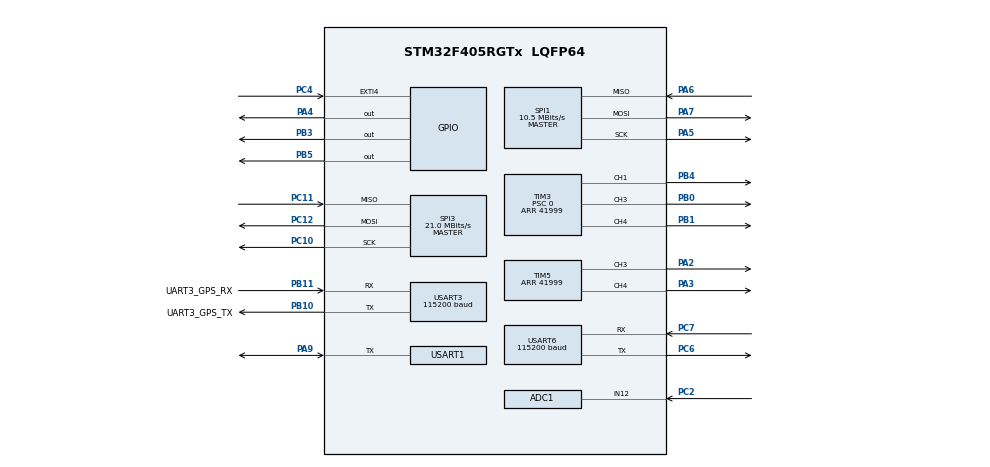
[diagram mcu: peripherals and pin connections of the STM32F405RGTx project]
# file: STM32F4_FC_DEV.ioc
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ADC1.Channel-0\#ChannelRegularConversion=ADC_CHANNEL_12
ADC1.ClockPrescaler=ADC_CLOCK_SYNC_PCLK_DIV8
ADC1.ContinuousConvMode=ENABLE
ADC1.DMAContinuousRequests=ENABLE
ADC1.NbrOfConversionFlag=1
ADC1.Rank-0\#ChannelRegularConversion=1
ADC1.SamplingTime-0\#ChannelRegularConversion=ADC_SAMPLETIME_480CYCLES
ADC1.master=1
Dma.ADC1.1.Direction=DMA_PERIPH_TO_MEMORY
Dma.ADC1.1.FIFOMode=DMA_FIFOMODE_DISABLE
Dma.ADC1.1.Instance=DMA2_Stream0
Dma.ADC1.1.MemDataAlignment=DMA_MDATAALIGN_HALFWORD
Dma.ADC1.1.MemInc=DMA_MINC_DISABLE
Dma.ADC1.1.Mode=DMA_CIRCULAR
Dma.ADC1.1.PeriphDataAlignment=DMA_PDATAALIGN_HALFWORD
Dma.ADC1.1.PeriphInc=DMA_PINC_DISABLE
Dma.ADC1.1.Priority=DMA_PRIORITY_LOW
Dma.Request0=USART3_RX
Dma.Request1=ADC1
Dma.USART3_RX.0.Direction=DMA_PERIPH_TO_MEMORY
Dma.USART3_RX.0.FIFOMode=DMA_FIFOMODE_DISABLE
Dma.USART3_RX.0.Instance=DMA1_Stream1
Dma.USART3_RX.0.MemDataAlignment=DMA_MDATAALIGN_BYTE
Dma.USART3_RX.0.MemInc=DMA_MINC_ENABLE
Dma.USART3_RX.0.Mode=DMA_CIRCULAR
Dma.USART3_RX.0.PeriphDataAlignment=DMA_PDATAALIGN_BYTE
Dma.USART3_RX.0.PeriphInc=DMA_PINC_DISABLE
Dma.USART3_RX.0.Priority=DMA_PRIORITY_LOW
Mcu.Family=STM32F4
Mcu.Name=STM32F405RGTx
Mcu.Package=LQFP64
NVIC.DMA1_Stream1_IRQn=true\:0\:0\:false\:false\:true\:false\:true\:true
NVIC.DMA2_Stream0_IRQn=true\:0\:0\:false\:false\:true\:false\:true\:true
NVIC.EXTI4_IRQn=true\:0\:0\:false\:false\:true\:true\:true\:true
NVIC.PriorityGroup=NVIC_PRIORITYGROUP_4
NVIC.SPI1_IRQn=true\:0\:0\:false\:false\:true\:true\:true\:true
NVIC.SPI3_IRQn=true\:0\:0\:false\:false\:true\:true\:true\:true
NVIC.USART1_IRQn=true\:0\:0\:false\:false\:true\:true\:true\:true
NVIC.USART3_IRQn=true\:0\:0\:false\:false\:true\:true\:true\:true
NVIC.USART6_IRQn=true\:0\:0\:false\:false\:true\:true\:true\:true
PA2.Signal=S_TIM5_CH3
PA3.Signal=S_TIM5_CH4
PA4.Signal=GPIO_Output
PA5.Mode=Full_Duplex_Master
PA5.Signal=SPI1_SCK
PA6.Mode=Full_Duplex_Master
PA6.Signal=SPI1_MISO
PA7.Mode=Full_Duplex_Master
PA7.Signal=SPI1_MOSI
PA9.Mode=Half_duplex(single_wire_mode)
PA9.Signal=USART1_TX
PB0.Signal=S_TIM3_CH3
PB1.Signal=S_TIM3_CH4
PB10.GPIO_Label=UART3_GPS_TX
PB10.Mode=Asynchronous
PB10.Signal=USART3_TX
PB11.GPIO_Label=UART3_GPS_RX
PB11.Mode=Asynchronous
PB11.Signal=USART3_RX
PB3.Signal=GPIO_Output
PB4.Signal=S_TIM3_CH1
PB5.Signal=GPIO_Output
PC10.Mode=Full_Duplex_Master
PC10.Signal=SPI3_SCK
PC11.Mode=Full_Duplex_Master
PC11.Signal=SPI3_MISO
PC12.Mode=Full_Duplex_Master
PC12.Signal=SPI3_MOSI
PC2.Signal=ADCx_IN12
PC4.Signal=GPXTI4
PC6.Mode=Asynchronous
PC6.Signal=USART6_TX
PC7.Mode=Asynchronous
PC7.Signal=USART6_RX
PH0-OSC_IN.Mode=HSE-External-Oscillator
PH0-OSC_IN.Signal=RCC_OSC_IN
PH1-OSC_OUT.Mode=HSE-External-Oscillator
PH1-OSC_OUT.Signal=RCC_OSC_OUT
ProjectManager.HeapSize=0x200
ProjectManager.StackSize=0x400
ProjectManager.TargetToolchain=STM32CubeIDE
RCC.48MHZClocksFreq_Value=84000000
RCC.AHBFreq_Value=168000000
RCC.APB1CLKDivider=RCC_HCLK_DIV4
RCC.APB1Freq_Value=42000000
RCC.APB1TimFreq_Value=84000000
RCC.APB2CLKDivider=RCC_HCLK_DIV2
RCC.APB2Freq_Value=84000000
RCC.APB2TimFreq_Value=168000000
RCC.CortexFreq_Value=168000000
RCC.HCLKFreq_Value=168000000
RCC.HSE_VALUE=8000000
RCC.HSI_VALUE=16000000
RCC.LSE_VALUE=32768
RCC.PLLM=4
RCC.PLLN=168
RCC.PLLSourceVirtual=RCC_PLLSOURCE_HSE
RCC.SYSCLKFreq_VALUE=168000000
RCC.SYSCLKSource=RCC_SYSCLKSOURCE_PLLCLK
RCC.VCOOutputFreq_Value=336000000
SH.ADCx_IN12.0=ADC1_IN12,IN12
SH.S_TIM3_CH1.0=TIM3_CH1,PWM Generation1 CH1
SH.S_TIM3_CH3.0=TIM3_CH3,PWM Generation3 CH3
SH.S_TIM3_CH4.0=TIM3_CH4,PWM Generation4 CH4
SH.S_TIM5_CH3.0=TIM5_CH3,PWM Generation3 CH3
SH.S_TIM5_CH4.0=TIM5_CH4,PWM Generation4 CH4
SPI1.BaudRatePrescaler=SPI_BAUDRATEPRESCALER_8
SPI1.CLKPhase=SPI_PHASE_2EDGE
SPI1.CLKPolarity=SPI_POLARITY_HIGH
SPI1.CalculateBaudRate=10.5 MBits/s
SPI1.Direction=SPI_DIRECTION_2LINES
SPI1.Mode=SPI_MODE_MASTER
SPI1.VirtualType=VM_MASTER
SPI3.BaudRatePrescaler=SPI_BAUDRATEPRESCALER_2
SPI3.CLKPhase=SPI_PHASE_1EDGE
SPI3.CLKPolarity=SPI_POLARITY_LOW
SPI3.CalculateBaudRate=21.0 MBits/s
SPI3.Direction=SPI_DIRECTION_2LINES
SPI3.Mode=SPI_MODE_MASTER
SPI3.VirtualType=VM_MASTER
TIM3.AutoReloadPreload=TIM_AUTORELOAD_PRELOAD_ENABLE
TIM3.Channel-PWM\ Generation1\ CH1=TIM_CHANNEL_1
TIM3.Channel-PWM\ Generation3\ CH3=TIM_CHANNEL_3
TIM3.Channel-PWM\ Generation4\ CH4=TIM_CHANNEL_4
TIM3.OCFastMode_PWM-PWM\ Generation1\ CH1=TIM_OCFAST_ENABLE
TIM3.OCFastMode_PWM-PWM\ Generation3\ CH3=TIM_OCFAST_ENABLE
TIM3.OCFastMode_PWM-PWM\ Generation4\ CH4=TIM_OCFAST_ENABLE
TIM3.Period=41999
TIM3.Prescaler=0
TIM3.Pulse-PWM\ Generation3\ CH3=0
TIM3.Pulse-PWM\ Generation4\ CH4=0
TIM5.AutoReloadPreload=TIM_AUTORELOAD_PRELOAD_ENABLE
TIM5.Channel-PWM\ Generation3\ CH3=TIM_CHANNEL_3
TIM5.Channel-PWM\ Generation4\ CH4=TIM_CHANNEL_4
TIM5.OCFastMode_PWM-PWM\ Generation3\ CH3=TIM_OCFAST_ENABLE
TIM5.OCFastMode_PWM-PWM\ Generation4\ CH4=TIM_OCFAST_ENABLE
TIM5.Period=41999
TIM5.Pulse-PWM\ Generation3\ CH3=0
TIM5.Pulse-PWM\ Generation4\ CH4=0
USART1.BaudRate=100000
USART1.StopBits=STOPBITS_2
USART1.VirtualMode=VM_ASYNC
USART3.BaudRate=115200
USART3.OverSampling=UART_OVERSAMPLING_16
USART3.VirtualMode=VM_ASYNC
USART6.BaudRate=115200
USART6.VirtualMode=VM_ASYNC
VP_TIM3_VS_ClockSourceINT.Mode=Internal
VP_TIM5_VS_ClockSourceINT.Mode=Internal
board=custom

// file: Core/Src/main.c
/* USER CODE BEGIN Header */
/**
  ******************************************************************************
  * @file           : main.c
  * @brief          : Main program body
  ******************************************************************************
  * @attention
  *
  * Copyright (c) 2023 STMicroelectronics.
  * All rights reserved.
  *
  * This software is licensed under terms that can be found in the LICENSE file
  * in the root directory of this software component.
  * If no LICENSE file comes with this software, it is provided AS-IS.
  *
  ******************************************************************************
  */
/* USER CODE END Header */
#include "main.h"
#include "adc.h"
#include "dma.h"
#include "spi.h"
#include "tim.h"
#include "usart.h"
#include "gpio.h"

/* USER CODE BEGIN Includes */
#include "Configure.h"
#include "ICM20602.h"
#include "Quaternion.h"
#include "GPS_Receiver.h"
#include "SBUS_Receiver.h"
#include "W25Qxx_Flash.h"
//#include "cli.h"
/* USER CODE END Includes */

/* USER CODE BEGIN PV */
extern uint8_t flag_INT_UART1_RX, flag_INT_UART1_RX_DONE;	// SBUS 수신기 인터럽트 플래그 변수
extern uint8_t flag_INT_USART6,flag_INT_UART6_RX_DONE;		// UART6 인터럽트 플래그 변수
extern uint8_t flag_INT_UART3_GPS;	// UART3 인터럽트 플래그 변수
extern uint8_t flag_INT_UART4_RX;	// S.Port 수신기 인터럽트 플래그 변수
extern uint8_t flag_DMA1_DONE, flag_DMA2_DONE;		// DMA1_STREAM1 DMA완료 플래그

extern uint8_t rxd, rxd_gps;		// UART 수신데이터 버퍼
extern uint8_t rx_buf[256];		// Rx 수신데이터 버퍼
uint8_t cnt1=0, cnt2 = 0, radio_safe=0;

//Flash
uint8_t flash_data[8]= {0x01,0x02,0x03,0x04, 0xAA,0x55,0xA5,0x5A};
uint8_t read_flash=0;
uint8_t read_flash_arr[256], write_flash_arr[256];
uint8_t flash_byte = 0x05, read_byte=0;

uint16_t adcVal;
float BatVol=0;

extern unsigned int TimingDelay;

unsigned long  t1=0;
unsigned long  t2=0;

float sampleFreq;

extern int recv_cnt, rx_recv_cnt;
extern int err_cnt, rx_err_cnt;

GPS_RAW_MESSAGE raw_gps;
SBUS_RAW_MESSAGE raw_rx;
MSG_NAV 		msg_nav;
MSG_SBUS 		msg_sbus;
//unsigned char M8N_CFG_PRT[28] = {0xB5, 0x62, 0x06, 0x00, 0x14, 0x00, 0x01, 0x00, 0x00, 0x00, 0xD0, 0x08, 0x00, 0x00, 0x00, 0x96, 0x00, 0x00, 0x01, 0x00, 0x01, 0x00, 0x00, 0x00, 0x00, 0x00, 0x8B, 0x54};
//unsigned char M8N_CFG_MSG[16] = {0xB5, 0x62, 0x06, 0x01, 0x08, 0x00, 0x29, 0x02, 0x00, 0x01, 0x00, 0x00, 0x00, 0x00, 0x3B, 0xFE};
//unsigned char M8N_CFG_RAT[14] = {0xB5, 0x62, 0x06, 0x08, 0x06, 0x00, 0xC8, 0x00, 0x01, 0x00, 0x01, 0x00, 0xDE, 0x6A};
//unsigned char M8N_CFG_CFG[21] = {0xB5, 0x62, 0x06, 0x09, 0x0D, 0x00, 0x00, 0x00, 0x00, 0x00, 0xFF, 0xFF, 0x00, 0x00, 0x00, 0x00, 0x00, 0x00, 0x17, 0x31, 0xBF};

/* USER CODE END PV */

void SystemClock_Config(void);

int main(void)
{

  /* MCU Configuration--------------------------------------------------------*/

  /* Reset of all peripherals, Initializes the Flash interface and the Systick. */
  HAL_Init();

  /* USER CODE BEGIN Init */
  memset(&read_flash_arr,0,256);
  for(int i=0; i<256;i++){
	  write_flash_arr[i]=i;
  }

  /* USER CODE END Init */

  /* Configure the system clock */
  SystemClock_Config();

  /* USER CODE BEGIN SysInit */
  LL_InitTick(168000000, 1000000U);		//	Clock을 1us단위로 조정, 1ms함수 사용할 수 없음
  /* USER CODE END SysInit */

  /* Initialize all configured peripherals */
  MX_GPIO_Init();
  MX_DMA_Init();
  MX_USART6_UART_Init();
  MX_SPI1_Init();
  MX_TIM3_Init();
  MX_USART3_UART_Init();
  MX_USART1_UART_Init();
  MX_TIM5_Init();
  MX_SPI3_Init();
  MX_ADC1_Init();
  /* USER CODE BEGIN 2 */

  W25QXX_SPI_Initialization();
//  W25qxx_EraseChip();
//  W25qxx_EraseSector(0);
//  W25qxx_IsEmptyBlock(0, 0, 256);

//  W25qxx_WriteByte(0x05,5);
//  W25qxx_ReadBytes(read_flash_arr, 0, 10);

//  W25qxx_WritePage(write_flash_arr, 0, 0, 256);
//  W25qxx_ReadPage(read_flash_arr, 0, 0,  256);
//  W25qxx_ReadBytes(read_flash_arr, 0, 256);
//  W25qxx_ReadBytes(read_flash_arr, 5, 5);

  // Buzzer
/*  LL_TIM_EnableCounter(TIM3);
  LL_TIM_CC_EnableChannel(TIM3, LL_TIM_CHANNEL_CH1);

  TIM3->PSC = 2000;
  usDelay(100000);
  TIM3->PSC = 1500;
  usDelay(100000);
  TIM3->PSC = 1000;
  usDelay(100000);

  LL_TIM_CC_DisableChannel(TIM3, LL_TIM_CHANNEL_CH1);
*/
  // ESC PWM
  LL_TIM_EnableCounter(TIM3);
  LL_TIM_CC_EnableChannel(TIM3, LL_TIM_CHANNEL_CH3);	// M1
  LL_TIM_CC_EnableChannel(TIM3, LL_TIM_CHANNEL_CH4); 	// M2
  LL_TIM_EnableCounter(TIM5);
  LL_TIM_CC_EnableChannel(TIM5, LL_TIM_CHANNEL_CH4);	// M3
  LL_TIM_CC_EnableChannel(TIM5, LL_TIM_CHANNEL_CH3);	// M4

  // ESC Calibration
/*  TIM3->CCR3 = MAX_TIM_PWM;
  TIM3->CCR4 = MAX_TIM_PWM;
  TIM5->CCR4 = MAX_TIM_PWM;
  TIM5->CCR3 = MAX_TIM_PWM;
  usDelay(7000000);	// 7sec

  TIM3->CCR3 = MIN_TIM_PWM;
  TIM3->CCR4 = MIN_TIM_PWM;
  TIM5->CCR4 = MIN_TIM_PWM;
  TIM5->CCR3 = MIN_TIM_PWM;
  usDelay(8000000);	// 7sec
*/

  ICM20602_Initialization();

  // Batery ADC Check
  HAL_ADC_Start_DMA(&hadc1, &adcVal, 1);

  // 시간측정을 위한 레지스터 초기화 값
  CoreDebug->DEMCR |= CoreDebug_DEMCR_TRCENA_Msk;
  DWT->CYCCNT = 0;
  DWT->CTRL |= DWT_CTRL_CYCCNTENA_Msk;

  // UART3 GPS 수신기 DMA 및 인터럽트 설정
  GPS_DMA_init(&raw_gps, USART3, DMA1, LL_DMA_STREAM_1);
  LL_DMA_EnableStream(DMA1,LL_DMA_STREAM_1);
  LL_USART_EnableIT_IDLE(USART3);

  // UART1 SBUS 수신기 인터럽트 설정
  LL_USART_EnableIT_IDLE(USART1);
  LL_USART_EnableIT_RXNE(USART1);

  // UART6 문자열 인터페이스 DMA 및  인터럽트 설정
//  USART_DMA_Transmit_INIT(USART6, DMA2, LL_DMA_STREAM_6);
  LL_USART_EnableIT_RXNE(USART6);	// UART6 인터럽트 활성화
//  LL_USART_EnableIT_IDLE(USART6);
//  LL_USART_EnableIT_TC(USART6);

  LL_GPIO_TogglePin(GPIOB, LL_GPIO_PIN_5);

  CliInit(&huart6);
  FLASH_If_Init();

  /* USER CODE END 2 */

  /* Infinite loop */
  /* USER CODE BEGIN WHILE */
  while (1)
  {
  //	  LL_GPIO_TogglePin(GPIOB, LL_GPIO_PIN_5);
  //	  usDelay(1000000);
  //	  LL_USART_TransmitData8(USART6,'B');

	  if(flag_INT_UART1_RX==1){
		  raw_rx.rx_buf[cnt1++] = LL_USART_ReceiveData8(USART1);
          flag_INT_UART1_RX =0;
	  }

	  if(flag_INT_UART1_RX_DONE == 1)
	  {
		  SBUS_Parsing(&raw_rx, &msg_sbus, &rx_recv_cnt, &rx_err_cnt);
          cnt1=0;
		  flag_INT_UART1_RX_DONE = 0;
	  }

	  if(flag_INT_UART4_RX==1){
		  flag_INT_UART4_RX = 0;
	  }

	  if(flag_INT_USART6 == 1){
		  flag_INT_USART6 =0;

		  CliDo(&huart6);

//		  LL_USART_TransmitData8(USART3,rxd); // 터미널에서 수신된 데이터를 GPS로 전달
//		  LL_USART_TransmitData8(USART6,rxd); // 호스트로부터 수신한 데이터를 그대로 다시 보냄
//		  LL_GPIO_TogglePin(GPIOB, LL_GPIO_PIN_5);
	  }

	  // UART3에서 한 프레임 GPS 데이터 수신완료에 인터럽트 발생, GPS데이터가 수신될 때마다 DMA는 데이터카운트를 하나씩 감소하면서 0이 될 때까지 전송
	  if(flag_INT_UART3_GPS == 1){

//		  cnt=(uint8_t)(MSG_LENGTH_NAV_SOL-LL_DMA_GetDataLength(DMA1,LL_DMA_STREAM_1));
		  LL_DMA_DisableStream(DMA1,LL_DMA_STREAM_1);
		  LL_DMA_ClearFlag_TC1(DMA1);
//		  cnt = 0;
		  flag_INT_UART3_GPS =0;

	  }

	  // DMA 데이터카운트가 0이되면 인터럽트 발생, 데이터를 버퍼로 수신 완료
	  if(flag_DMA1_DONE == 1)
	  {
//		  cnt=(uint8_t)(MSG_LENGTH_NAV_SOL-LL_DMA_GetDataLength(DMA1,LL_DMA_STREAM_1));

		  // Batery Checker
		  BatVol = adcVal*ADC_BAT_COEFF;
//		  printf("Battery Check: ADC[%d], Voltage[%f]\n", adcVal, BatVol);

		  // GPS Parsing
		  GPS_Parsing(&raw_gps, &msg_nav, &recv_cnt, &err_cnt);
		  LL_DMA_EnableStream(DMA1,LL_DMA_STREAM_1);
		  flag_DMA1_DONE = 0;
	  }

	  if(ICM20602_DataReady() == 1)
	  {

		  t2 = DWT->CYCCNT;
//		  sampleFreq = (1000000.0f /(((float)(t2-t1))/CLOCK_PER_USEC)); // set integration time by time elapsed since last filter update
		  t1 = t2;
//		  printf("%.2f\n",(sampleFreq));
		  GetRPY(&sampleFreq);
		  // overall 230us time consumption
		  // Loop 수행시간 계산시 소수점 세자리 출력(약 400u) 더해주어야 함

	  }

	  // Failsafe
	  if(msg_sbus.failsafe==MSG_SBUS_FS_BIT_MASK) {
		  TIM3->CCR3 = MIN_TIM_PWM;
		  TIM3->CCR4 = MIN_TIM_PWM;
		  TIM5->CCR4 = MIN_TIM_PWM;
		  TIM5->CCR3 = MIN_TIM_PWM;
	  }

	  // Radio Control
	  else	  {

		  if(radio_safe==0) {
			  if((msg_sbus.rx_channel[0] < MIN_RADIO_CH1_PWM + 5)&&(msg_sbus.rx_channel[0] > 0)) {
				   LL_GPIO_TogglePin(GPIOB, LL_GPIO_PIN_5);
				   usDelay(500000);
				   LL_GPIO_TogglePin(GPIOB, LL_GPIO_PIN_5);
				   usDelay(500000);
				   LL_GPIO_TogglePin(GPIOB, LL_GPIO_PIN_5);
				   usDelay(500000);
				   LL_GPIO_TogglePin(GPIOB, LL_GPIO_PIN_5);
				   usDelay(500000);
				   LL_GPIO_TogglePin(GPIOB, LL_GPIO_PIN_5);
				   usDelay(500000);
				   LL_GPIO_TogglePin(GPIOB, LL_GPIO_PIN_5);
				   usDelay(500000);
				   radio_safe = 1;
			  }
		  }

		  else {
			  TIM3->CCR3 = MIN_TIM_PWM + RANGE_TIM_PWM/RANGE_RADIO_CH1_PWM*(msg_sbus.rx_channel[0]-MIN_RADIO_CH1_PWM);
			  TIM3->CCR4 = MIN_TIM_PWM + RANGE_TIM_PWM/RANGE_RADIO_CH1_PWM*(msg_sbus.rx_channel[0]-MIN_RADIO_CH1_PWM);
			  TIM5->CCR4 = MIN_TIM_PWM + RANGE_TIM_PWM/RANGE_RADIO_CH1_PWM*(msg_sbus.rx_channel[0]-MIN_RADIO_CH1_PWM);
			  TIM5->CCR3 = MIN_TIM_PWM + RANGE_TIM_PWM/RANGE_RADIO_CH1_PWM*(msg_sbus.rx_channel[0]-MIN_RADIO_CH1_PWM);
		  }

	  }

    /* USER CODE END WHILE */

  }
}

void SystemClock_Config(void)
{
  LL_FLASH_SetLatency(LL_FLASH_LATENCY_5);
  while(LL_FLASH_GetLatency()!= LL_FLASH_LATENCY_5)
  {
  }
  LL_PWR_SetRegulVoltageScaling(LL_PWR_REGU_VOLTAGE_SCALE1);
  LL_RCC_HSE_Enable();

   /* Wait till HSE is ready */
  while(LL_RCC_HSE_IsReady() != 1)
  {

  }
  LL_RCC_PLL_ConfigDomain_SYS(LL_RCC_PLLSOURCE_HSE, LL_RCC_PLLM_DIV_4, 168, LL_RCC_PLLP_DIV_2);
  LL_RCC_PLL_Enable();

   /* Wait till PLL is ready */
  while(LL_RCC_PLL_IsReady() != 1)
  {

  }
  LL_RCC_SetAHBPrescaler(LL_RCC_SYSCLK_DIV_1);
  LL_RCC_SetAPB1Prescaler(LL_RCC_APB1_DIV_4);
  LL_RCC_SetAPB2Prescaler(LL_RCC_APB2_DIV_2);
  LL_RCC_SetSysClkSource(LL_RCC_SYS_CLKSOURCE_PLL);

   /* Wait till System clock is ready */
  while(LL_RCC_GetSysClkSource() != LL_RCC_SYS_CLKSOURCE_STATUS_PLL)
  {

  }
  LL_SetSystemCoreClock(168000000);

   /* Update the time base */
  if (HAL_InitTick (TICK_INT_PRIORITY) != HAL_OK)
  {
    Error_Handler();
  }
}

/* USER CODE BEGIN 4 */
void usDelay(unsigned int nTime)
{
	__IO unsigned int  tmp = SysTick->CTRL;
	((void)tmp);

	SysTick->VAL = 0;

	SysTick->CTRL = SysTick->CTRL | SysTick_CTRL_CLKSOURCE_Msk | SysTick_CTRL_TICKINT_Msk | SysTick_CTRL_ENABLE_Msk; // clock source

	TimingDelay = nTime-1;

	while(TimingDelay);

	SysTick->CTRL = 0;

}
/* USER CODE END 4 */

void Error_Handler(void)
{
  __disable_irq();
  while (1)
  {
  }
}
